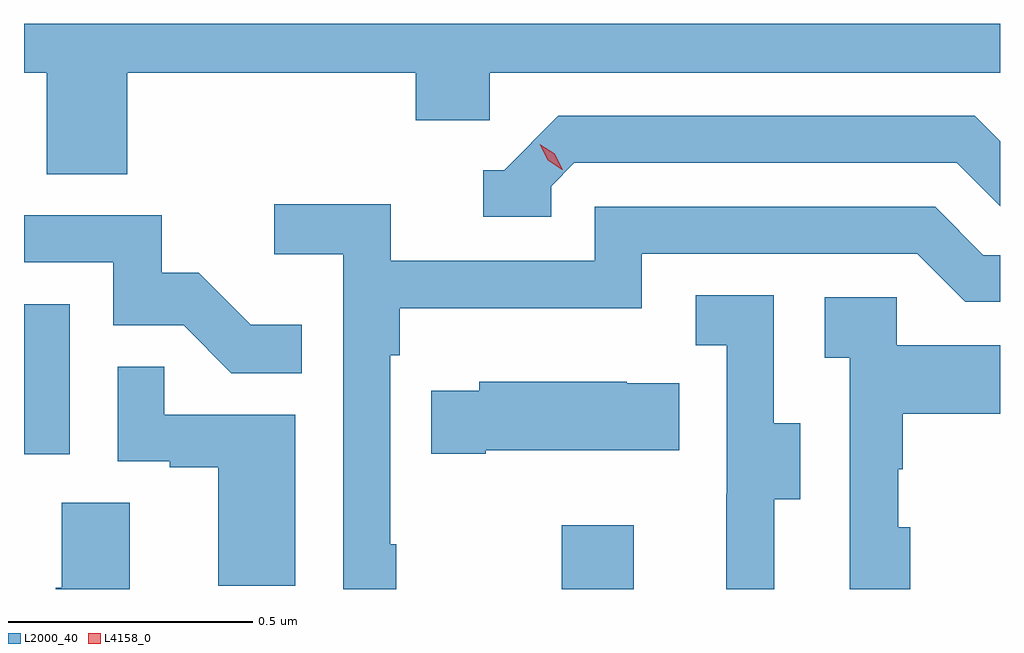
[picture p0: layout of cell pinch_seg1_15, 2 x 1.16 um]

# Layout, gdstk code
import gdstk
lib = gdstk.Library(unit=1e-6, precision=1e-09)
def R(c, l, rs):  # rectangles x0, y0, x1, y1
    for r in rs: c.add(gdstk.rectangle(r[:2], r[2:], *l))
def P(c, l, *ps):  # polygons
    for p in ps: c.add(gdstk.Polygon(p, *l))
L2000_40 = (2000, 40)
L4158_0 = (4158, 0)

pinch_seg1_15 = lib.new_cell('pinch_seg1_15')
R(pinch_seg1_15, L2000_40, [(1143.07,582.641,1143.217,582.772), (1141.968,582.918,1142.062,583.225)])
P(pinch_seg1_15, L2000_40, [(1142.18,583.7),(1142.771,583.7),(1142.771,583.602),(1142.922,583.602),(1142.922,583.7),(1143.968,583.7),(1143.968,583.8),(1141.968,583.8),(1141.968,583.7),(1142.015,583.7),(1142.015,583.492),(1142.18,583.492)],
  [(1143.048,583.467),(1143.096,583.515),(1143.879,583.515),(1143.968,583.426),(1143.968,583.559),(1143.916,583.611),(1143.063,583.611),(1142.952,583.5),(1142.909,583.5),(1142.909,583.404),(1143.048,583.404)],
  [(1142.731,582.733),(1142.718,582.733),(1142.718,583.121),(1142.738,583.121),(1142.738,583.217),(1143.234,583.217),(1143.234,583.329),(1143.798,583.329),(1143.897,583.23),(1143.968,583.23),(1143.968,583.326),(1143.934,583.326),(1143.835,583.425),(1143.138,583.425),(1143.138,583.314),(1142.72,583.314),(1142.72,583.43),(1142.481,583.43),(1142.481,583.328),(1142.622,583.328),(1142.622,582.641),(1142.731,582.641)],
  [(1142.537,583.183),(1142.433,583.183),(1142.326,583.29),(1142.25,583.29),(1142.25,583.407),(1141.968,583.407),(1141.968,583.311),(1142.151,583.311),(1142.151,583.182),(1142.295,583.182),(1142.393,583.084),(1142.537,583.084)],
  [(1143.505,582.826),(1143.559,582.826),(1143.559,582.981),(1143.504,582.981),(1143.504,583.244),(1143.345,583.244),(1143.345,583.141),(1143.408,583.141),(1143.408,582.837),(1143.407,582.837),(1143.407,582.641),(1143.505,582.641)],
  [(1143.784,582.768),(1143.759,582.768),(1143.759,582.887),(1143.769,582.887),(1143.769,583.001),(1143.968,583.001),(1143.968,583.141),(1143.756,583.141),(1143.756,583.239),(1143.609,583.239),(1143.609,583.115),(1143.66,583.115),(1143.66,582.641),(1143.784,582.641)],
  [(1142.524,582.999),(1142.255,582.999),(1142.255,583.097),(1142.16,583.097),(1142.16,582.903),(1142.267,582.903),(1142.267,582.891),(1142.366,582.891),(1142.366,582.648),(1142.524,582.648)],
  [(1142.914,582.926),(1143.311,582.926),(1143.311,583.063),(1143.203,583.063),(1143.203,583.066),(1142.901,583.066),(1142.901,583.048),(1142.803,583.048),(1142.803,582.919),(1142.914,582.919)],
  [(1142.185,582.818),(1142.045,582.818),(1142.045,582.644),(1142.033,582.644),(1142.033,582.641),(1142.185,582.641)])
P(pinch_seg1_15, L4158_0, [(1143.071,583.501),(1143.041,583.52),(1143.025,583.553),(1143.025,583.553),(1143.025,583.553),(1143.056,583.534),(1143.072,583.501),(1143.072,583.501)])

lib.write_gds('pinch_seg1_15.gds')
